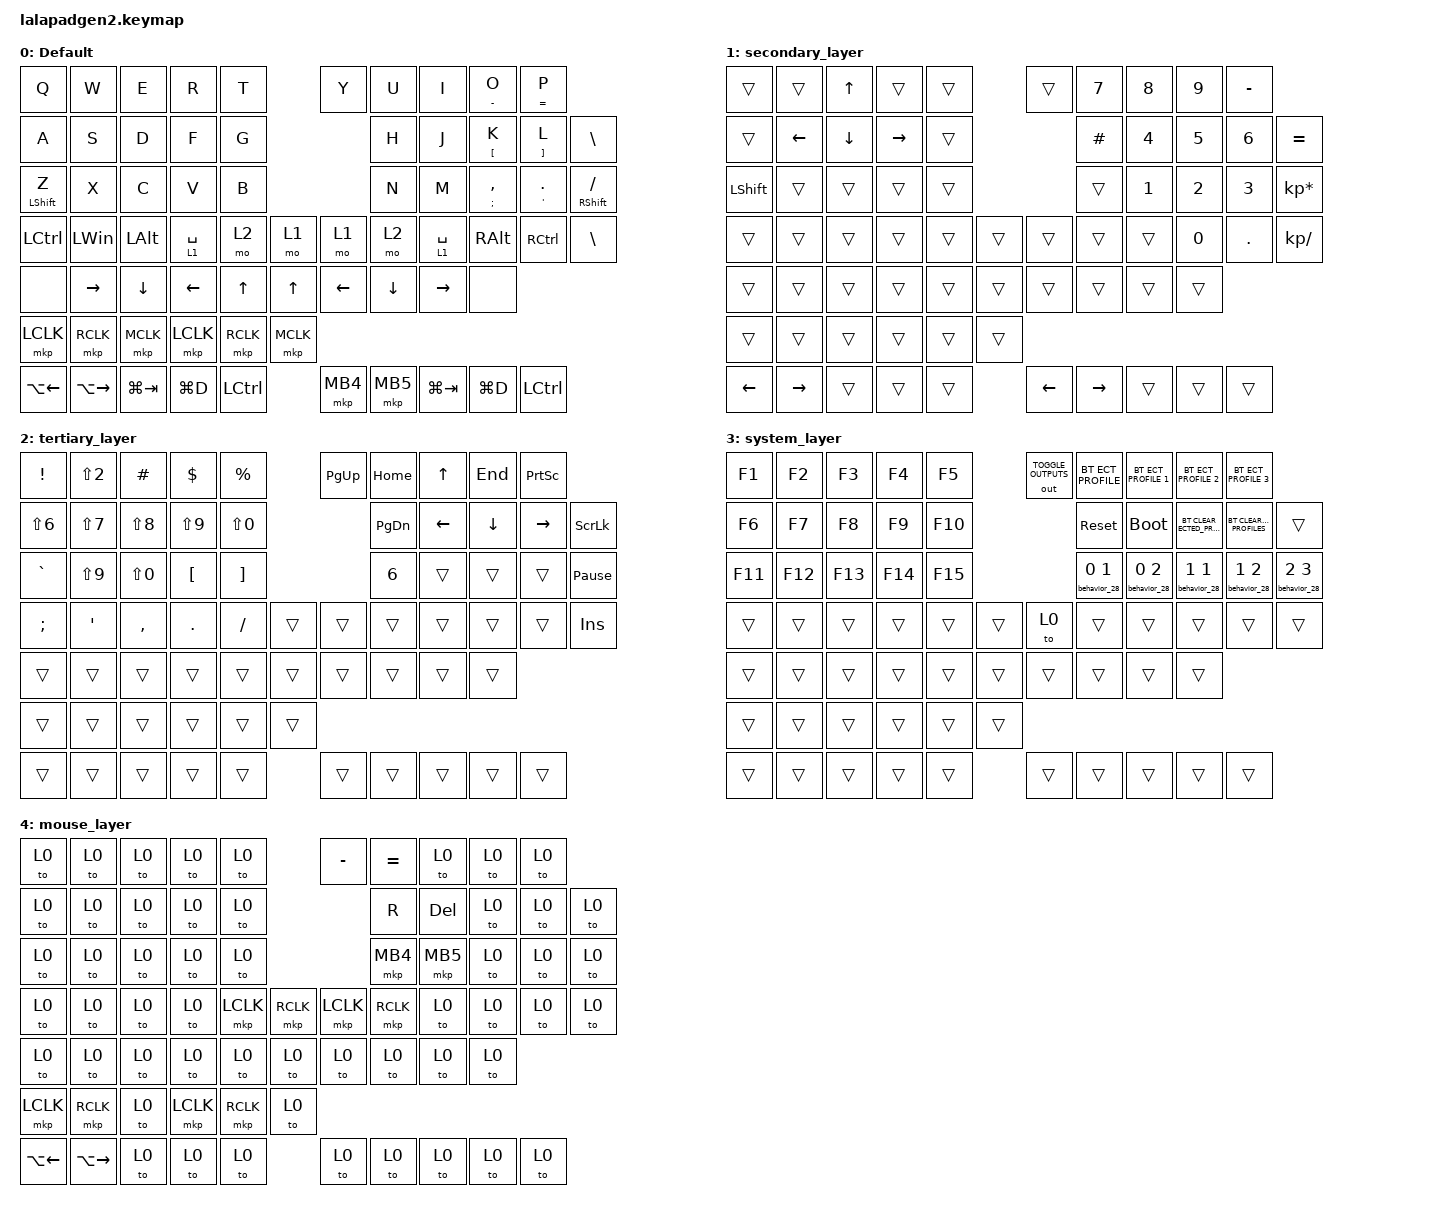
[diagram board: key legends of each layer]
#include <input/processors.dtsi>
#include <dt-bindings/zmk/zip_dynamic_scale.h>
#include <behaviors.dtsi>
#include <dt-bindings/zmk/bt.h>
#include <dt-bindings/zmk/keys.h>
#include <dt-bindings/zmk/outputs.h>
#include <dt-bindings/zmk/pointing.h>

#define DEFAULT_LAYER   0
#define SECONDARY_LAYER 1
#define TERTIARY_LAYER  2
#define SYSTEM_LAYER    3
#define MOUSE_LAYER     4

&mt { quick-tap-ms = <200>; };

&lt { quick-tap-ms = <200>; };

/ {
    behaviors {
        zip_dyn_scale: zip_dyn_scale {
            compatible = "zmk,behavior-zip-dynamic-scale";
            #binding-cells = <2>;
        };

        zip_dyn_scale_set: zip_dyn_scale_set {
            compatible = "zmk,behavior-zip-dynamic-scale-set";
            #binding-cells = <2>;
        };

        mt2: mod_tap2 {
            compatible = "zmk,behavior-hold-tap";
            #binding-cells = <2>;
            flavor = "tap-preferred";
            tapping-term-ms = <200>;
            quick-tap-ms = <200>;
            require-prior-idle-ms = <125>;
            bindings = <&kp>, <&kp>;
        };

        tap_dance_layer_1and2: tap_dance_layer_1and2 {
            compatible = "zmk,behavior-tap-dance";
            label = "td_mo12";
            #binding-cells = <0>;
            bindings = <&mo 1>, <&mo 2>;
        };

        /* REMAP_LALAPAD_TD_BEGIN */
        td0: td0 {
            compatible = "zmk,behavior-tap-dance-triple";
            #binding-cells = <0>;
            tapping-term-ms = <200>;
            bindings = <&kp LANGUAGE_1>, <&kp LEFT_ALT>, <&trans>;
        };

        td1: td1 {
            compatible = "zmk,behavior-tap-dance-triple";
            #binding-cells = <0>;
            tapping-term-ms = <200>;
            bindings = <&kp LANGUAGE_2>, <&kp RIGHT_ALT>, <&trans>;
        };

        td2: td2 {
            compatible = "zmk,behavior-tap-dance-triple";
            #binding-cells = <0>;
            tapping-term-ms = <200>;
            bindings = <&kp SLASH>, <&kp RIGHT_SHIFT>, <&trans>;
        };

        td3: td3 {
            compatible = "zmk,behavior-tap-dance-triple";
            #binding-cells = <0>;
            tapping-term-ms = <200>;
            bindings = <&kp BACKSLASH>, <&kp ENTER>, <&trans>;
        };

        td4: td4 {
            compatible = "zmk,behavior-tap-dance-triple";
            #binding-cells = <0>;
            tapping-term-ms = <200>;
            bindings = <&kp P>, <&kp EQUAL>, <&trans>;
        };

        td5: td5 {
            compatible = "zmk,behavior-tap-dance-triple";
            #binding-cells = <0>;
            tapping-term-ms = <200>;
            bindings = <&kp O>, <&kp MINUS>, <&trans>;
        };

        td6: td6 {
            compatible = "zmk,behavior-tap-dance-triple";
            #binding-cells = <0>;
            tapping-term-ms = <200>;
            bindings = <&kp K>, <&kp LEFT_BRACKET>, <&trans>;
        };

        td7: td7 {
            compatible = "zmk,behavior-tap-dance-triple";
            #binding-cells = <0>;
            tapping-term-ms = <200>;
            bindings = <&kp L>, <&kp RIGHT_BRACKET>, <&trans>;
        };

        td8: td8 {
            compatible = "zmk,behavior-tap-dance-triple";
            #binding-cells = <0>;
            tapping-term-ms = <200>;
            bindings = <&kp COMMA>, <&kp SEMI>, <&trans>;
        };

        td9: td9 {
            compatible = "zmk,behavior-tap-dance-triple";
            #binding-cells = <0>;
            tapping-term-ms = <200>;
            bindings = <&kp PERIOD>, <&kp SQT>, <&trans>;
        };
        /* REMAP_LALAPAD_TD_END */
    };

    combos {
        compatible = "zmk,combos";

        CONBO_ESC {
            bindings = <&kp ESCAPE>;
            key-positions = <0 1>;
        };
        COMBO_TAB {
            bindings = <&kp TAB>;
            key-positions = <10 11>;
        };
        COMBO_3 {
            bindings = <&kp BACKSPACE>;
            key-positions = <8 9>;
        };
        COMBO_4 {
            bindings = <&kp F2>;
            key-positions = <1 2>;
        };
        COMBO_5 {
            bindings = <&kp ENTER>;
            key-positions = <18 19>;
        };
        COMBO_6 {
            bindings = <&kp F7>;
            key-positions = <5 6>;
        };
    };

    keymap {
        compatible = "zmk,keymap";

        default_layer {
            display-name = "Default";
            bindings = <
            &kp Q  &kp W  &kp E  &kp R  &kp T  &kp Y  &kp U  &kp I  &mt2 MINUS O  &mt2 EQUAL P
            &kp A  &kp S  &kp D  &kp F  &kp G  &kp H  &kp J  &mt2 LEFT_BRACKET K  &mt2 RIGHT_BRACKET L  &kp BACKSLASH
            &mt2 LEFT_SHIFT Z  &kp X  &kp C  &kp V  &kp B  &kp N  &kp M  &mt2 SEMI COMMA  &mt2 SQT PERIOD  &mt2 RIGHT_SHIFT SLASH
            &kp LCTRL  &kp LWIN  &kp LALT  &lt 1 SPACE  &mo 2  &mo 1  &mo 1  &mo 2  &lt 1 SPACE  &kp RALT  &kp RIGHT_CONTROL  &kp BACKSLASH
            &none  &kp RIGHT  &kp DOWN  &kp LEFT  &kp UP  &kp UP  &kp LEFT  &kp DOWN  &kp RIGHT  &none
            &mkp LCLK  &mkp RCLK  &mkp MCLK  &mkp LCLK  &mkp RCLK  &mkp MCLK
            &kp LA(LEFT)  &kp LA(RIGHT)  &kp LG(TAB)  &kp LG(D)  &kp LCTRL  &mkp MB4  &mkp MB5  &kp LG(TAB)  &kp LG(D)  &kp LCTRL
            >;
        };

        secondary_layer {
            display-name = "secondary_layer";
            bindings = <
            &trans  &trans  &kp UP  &trans  &trans  &trans  &kp NUMBER_7  &kp NUMBER_8  &kp NUMBER_9  &kp MINUS
            &trans  &kp LEFT  &kp DOWN  &kp RIGHT  &trans  &kp HASH  &kp NUMBER_4  &kp NUMBER_5  &kp NUMBER_6  &kp EQUAL
            &kp LEFT_SHIFT  &trans  &trans  &trans  &trans  &trans  &kp NUMBER_1  &kp NUMBER_2  &kp NUMBER_3  &kp KP_ASTERISK
            &trans  &trans  &trans  &trans  &trans  &trans  &trans  &trans  &trans  &kp NUMBER_0  &kp PERIOD  &kp KP_DIVIDE
            &trans  &trans  &trans  &trans  &trans  &trans  &trans  &trans  &trans  &trans
            &trans  &trans  &trans  &trans  &trans  &trans
            &kp LEFT  &kp RIGHT  &trans  &trans  &trans  &kp LEFT  &kp RIGHT  &trans  &trans  &trans
            >;
        };

        tertiary_layer {
            display-name = "tertiary_layer";
            bindings = <
            &kp EXCL  &kp LS(NUMBER_2)  &kp HASH  &kp DLLR  &kp PRCNT  &kp PAGE_UP  &kp HOME  &kp UP  &kp END  &kp PRINTSCREEN
            &kp LS(NUMBER_6)  &kp LS(NUMBER_7)  &kp LS(NUMBER_8)  &kp LS(NUMBER_9)  &kp LS(NUMBER_0)  &kp PAGE_DOWN  &kp LEFT  &kp DOWN  &kp RIGHT  &kp SCROLLLOCK
            &kp GRAVE  &kp LS(NUMBER_9)  &kp LS(NUMBER_0)  &kp LEFT_BRACKET  &kp RIGHT_BRACKET  &kp NUMBER_6  &trans  &trans  &trans  &kp PAUSE_BREAK
            &kp SEMI  &kp SQT  &kp COMMA  &kp PERIOD  &kp SLASH  &trans  &trans  &trans  &trans  &trans  &trans  &kp INSERT
            &trans  &trans  &trans  &trans  &trans  &trans  &trans  &trans  &trans  &trans
            &trans  &trans  &trans  &trans  &trans  &trans
            &trans  &trans  &trans  &trans  &trans  &trans  &trans  &trans  &trans  &trans
            >;
        };

        system_layer {
            display-name = "system_layer";
            bindings = <
            &kp F1  &kp F2  &kp F3  &kp F4  &kp F5  &out TOGGLE_OUTPUTS  &bt SELECT_PROFILE  &bt SELECT_PROFILE 1  &bt SELECT_PROFILE 2  &bt SELECT_PROFILE 3
            &kp F6  &kp F7  &kp F8  &kp F9  &kp F10  &sys_reset  &bootloader  &bt CLEAR_SELECTED_PROFILE  &bt CLEAR_ALL_PROFILES  &trans
            &kp F11  &kp F12  &kp F13  &kp F14  &kp F15  &behavior_28 0 1  &behavior_28 0 2  &behavior_28 1 1  &behavior_28 1 2  &behavior_28 2 3
            &trans  &trans  &trans  &trans  &trans  &trans  &to 0  &trans  &trans  &trans  &trans  &trans
            &trans  &trans  &trans  &trans  &trans  &trans  &trans  &trans  &trans  &trans
            &trans  &trans  &trans  &trans  &trans  &trans
            &trans  &trans  &trans  &trans  &trans  &trans  &trans  &trans  &trans  &trans
            >;
        };

        mouse_layer {
            display-name = "mouse_layer";
            bindings = <
            &to 0  &to 0  &to 0  &to 0  &to 0  &kp MINUS  &kp EQUAL  &to 0  &to 0  &to 0
            &to 0  &to 0  &to 0  &to 0  &to 0  &kp R  &kp DELETE  &to 0  &to 0  &to 0
            &to 0  &to 0  &to 0  &to 0  &to 0  &mkp MB4  &mkp MB5  &to 0  &to 0  &to 0
            &to 0  &to 0  &to 0  &to 0  &mkp LCLK  &mkp RCLK  &mkp LCLK  &mkp RCLK  &to 0  &to 0  &to 0  &to 0
            &to 0  &to 0  &to 0  &to 0  &to 0  &to 0  &to 0  &to 0  &to 0  &to 0
            &mkp LCLK  &mkp RCLK  &to 0  &mkp LCLK  &mkp RCLK  &to 0
            &kp LA(LEFT)  &kp LA(RIGHT)  &to 0  &to 0  &to 0  &to 0  &to 0  &to 0  &to 0  &to 0
            >;
        };
    };

    conditional_layers {
        compatible = "zmk,conditional-layers";

        Cond_Syslayer {
            if-layers = <1 2>;
            then-layer = <3>;
        };
    };
};
